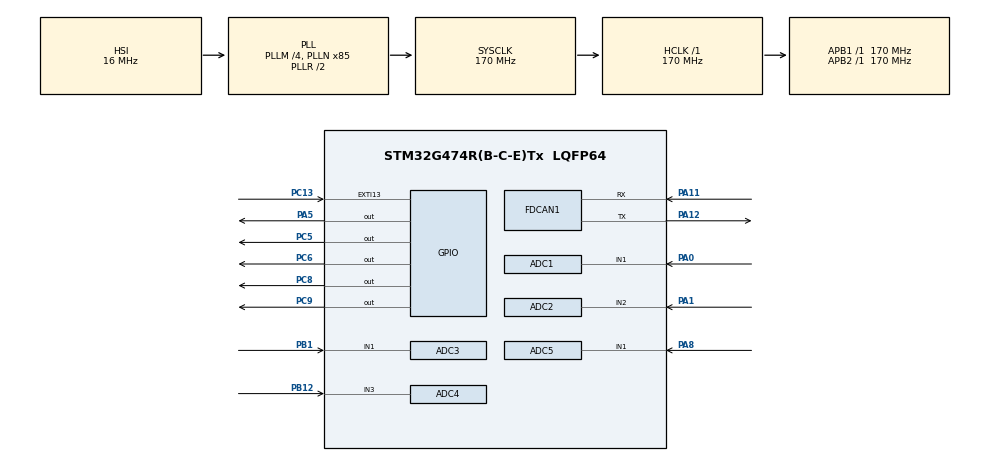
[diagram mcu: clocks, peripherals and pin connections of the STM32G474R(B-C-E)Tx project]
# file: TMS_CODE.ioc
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ADC1.Channel-1\#ChannelRegularConversion=ADC_CHANNEL_1
ADC1.NbrOfConversionFlag=1
ADC1.OffsetNumber-1\#ChannelRegularConversion=ADC_OFFSET_NONE
ADC1.Rank-1\#ChannelRegularConversion=1
ADC1.SamplingTime-1\#ChannelRegularConversion=ADC_SAMPLETIME_2CYCLES_5
ADC1.master=1
ADC2.Channel-0\#ChannelRegularConversion=ADC_CHANNEL_2
ADC2.NbrOfConversionFlag=1
ADC2.OffsetNumber-0\#ChannelRegularConversion=ADC_OFFSET_NONE
ADC2.Rank-0\#ChannelRegularConversion=1
ADC2.SamplingTime-0\#ChannelRegularConversion=ADC_SAMPLETIME_2CYCLES_5
ADC3.Channel-5\#ChannelRegularConversion=ADC_CHANNEL_1
ADC3.NbrOfConversionFlag=1
ADC3.OffsetNumber-5\#ChannelRegularConversion=ADC_OFFSET_NONE
ADC3.Rank-5\#ChannelRegularConversion=1
ADC3.SamplingTime-5\#ChannelRegularConversion=ADC_SAMPLETIME_2CYCLES_5
ADC3.master=1
ADC4.Channel-0\#ChannelRegularConversion=ADC_CHANNEL_3
ADC4.NbrOfConversionFlag=1
ADC4.OffsetNumber-0\#ChannelRegularConversion=ADC_OFFSET_NONE
ADC4.Rank-0\#ChannelRegularConversion=1
ADC4.SamplingTime-0\#ChannelRegularConversion=ADC_SAMPLETIME_2CYCLES_5
ADC5.Channel-2\#ChannelRegularConversion=ADC_CHANNEL_1
ADC5.NbrOfConversionFlag=1
ADC5.OffsetNumber-2\#ChannelRegularConversion=ADC_OFFSET_NONE
ADC5.Rank-2\#ChannelRegularConversion=1
ADC5.SamplingTime-2\#ChannelRegularConversion=ADC_SAMPLETIME_2CYCLES_5
FDCAN1.CalculateBaudRateNominal=500000
FDCAN1.CalculateTimeBitNominal=2000
FDCAN1.CalculateTimeQuantumNominal=200.0
FDCAN1.NominalPrescaler=34
FDCAN1.NominalTimeSeg1=4
FDCAN1.NominalTimeSeg2=5
Mcu.Family=STM32G4
Mcu.Name=STM32G474R(B-C-E)Tx
Mcu.Package=LQFP64
NUCLEO-G474RE.BUTTON=1
NUCLEO-G474RE.LD2=true
NUCLEO-G474RE.VCP=true
NVIC.EXTI15_10_IRQn=true\:0\:0\:false\:false\:true\:true\:true\:true
NVIC.PriorityGroup=NVIC_PRIORITYGROUP_4
PA0.Mode=IN1-Single-Ended
PA0.Signal=ADC1_IN1
PA1.Mode=IN2-Single-Ended
PA1.Signal=ADC2_IN2
PA11.Mode=FDCAN_Activate
PA11.Signal=FDCAN1_RX
PA12.Mode=FDCAN_Activate
PA12.Signal=FDCAN1_TX
PA13.GPIO_Label=T_SWDIO
PA13.Signal=SYS_JTMS-SWDIO
PA14.GPIO_Label=T_SWCLK
PA14.Signal=SYS_JTCK-SWCLK
PA2.Signal=LPUART1_TX
PA3.Signal=LPUART1_RX
PA5.Signal=GPIO_Output
PA8.Mode=IN1-Single-Ended
PA8.Signal=ADC5_IN1
PB1.Mode=IN1-Single-Ended
PB1.Signal=ADC3_IN1
PB12.Mode=IN3-Single-Ended
PB12.Signal=ADC4_IN3
PB3.GPIO_Label=T_SWO
PB3.Signal=SYS_JTDO-SWO
PC13.Signal=GPXTI13
PC14-OSC32_IN.GPIO_Label=RCC_OSC32_IN
PC14-OSC32_IN.Signal=RCC_OSC32_IN
PC15-OSC32_OUT.GPIO_Label=RCC_OSC32_OUT
PC15-OSC32_OUT.Signal=RCC_OSC32_OUT
PC5.Signal=GPIO_Output
PC6.Signal=GPIO_Output
PC8.Signal=GPIO_Output
PC9.Signal=GPIO_Output
PF0-OSC_IN.GPIO_Label=RCC_OSC_IN
PF0-OSC_IN.Signal=RCC_OSC_IN
PF1-OSC_OUT.GPIO_Label=RCC_OSC_OUT
PF1-OSC_OUT.Signal=RCC_OSC_OUT
ProjectManager.HeapSize=0x200
ProjectManager.StackSize=0x400
ProjectManager.TargetToolchain=STM32CubeIDE
RCC.ADC12Freq_Value=170000000
RCC.ADC345Freq_Value=170000000
RCC.AHBFreq_Value=170000000
RCC.APB1Freq_Value=170000000
RCC.APB1TimFreq_Value=170000000
RCC.APB2Freq_Value=170000000
RCC.APB2TimFreq_Value=170000000
RCC.CortexFreq_Value=170000000
RCC.EXTERNAL_CLOCK_VALUE=12288000
RCC.HCLKFreq_Value=170000000
RCC.HSE_VALUE=24000000
RCC.HSI48_VALUE=48000000
RCC.HSI_VALUE=16000000
RCC.LSE_VALUE=32768
RCC.PLLM=RCC_PLLM_DIV4
RCC.PLLN=85
RCC.RTCClockSelection=RCC_RTCCLKSOURCE_LSE
RCC.SYSCLKFreq_VALUE=170000000
RCC.SYSCLKSource=RCC_SYSCLKSOURCE_PLLCLK
RCC.USBFreq_Value=170000000
RCC.VCOOutputFreq_Value=340000000
VP_NUCLEO-G474RE_VS_BSP_COMMON.Mode=COMMON
VP_SYS_VS_DBSignals.Mode=DisableDeadBatterySignals
board=NUCLEO-G474RE

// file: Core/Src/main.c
/* USER CODE BEGIN Header */
/* USER CODE END Header */
#include "main.h"

/* USER CODE BEGIN Includes */
#include <stdio.h>
#include <math.h>
#include <string.h>
/* USER CODE END Includes */

/* USER CODE BEGIN PD */
#define TMS_NUM_SENSORS 5
/* USER CODE END PD */

/* USER CODE BEGIN PM */
#ifndef MIN
#define MIN(a,b) ((a)<(b)?(a):(b))
#endif
#ifndef MAX
#define MAX(a,b) ((a)>(b)?(a):(b))
#endif
/* USER CODE END PM */

COM_InitTypeDef BspCOMInit;
ADC_HandleTypeDef hadc1;
ADC_HandleTypeDef hadc2;
ADC_HandleTypeDef hadc3;
ADC_HandleTypeDef hadc4;
ADC_HandleTypeDef hadc5;

FDCAN_HandleTypeDef hfdcan1;

/* USER CODE BEGIN PV */
uint16_t adc_raw[5];
float    adc_voltage[5];
float    adc_temp[5];

uint32_t last_print_time = 0;
/* USER CODE END PV */

void SystemClock_Config(void);
static void MX_GPIO_Init(void);
static void MX_FDCAN1_Init(void);
static void MX_ADC2_Init(void);
static void MX_ADC1_Init(void);
static void MX_ADC3_Init(void);
static void MX_ADC4_Init(void);
static void MX_ADC5_Init(void);
/* USER CODE BEGIN PFP */

static uint16_t adc_read_once(ADC_HandleTypeDef *hadc);
static uint16_t median5_u16(uint16_t a[5]);
static inline float clampf(float x, float lo, float hi);
static float voltage_to_temperature(float vout);
static int8_t temp_to_i8(float t);

void send_address_claim(void);
void send_thermistor_summary(int8_t minT, int8_t maxT, int8_t avgT,
                             uint8_t count, uint8_t id_max, uint8_t id_min);
void send_all_temps_to_esp(int8_t temps[5]);

/* USER CODE END PFP */

/* USER CODE BEGIN 0 */

/* Leitura robusta de ADC (mediana de 5 conversões) */
static uint16_t adc_read_once(ADC_HandleTypeDef *hadc)
{
    uint16_t buf[5];

    for (int i = 0; i < 5; i++)
    {
        HAL_ADC_Start(hadc);
        HAL_ADC_PollForConversion(hadc, 10);
        buf[i] = HAL_ADC_GetValue(hadc);
    }

    return median5_u16(buf);
}

/* Ordenação por inserção – retorna mediana */
static uint16_t median5_u16(uint16_t a[5])
{
    for (int i = 1; i < 5; i++)
    {
        uint16_t x = a[i];
        int j = i - 1;

        while (j >= 0 && a[j] > x)
        {
            a[j + 1] = a[j];
            j--;
        }

        a[j + 1] = x;
    }

    return a[2];
}

/* Clamp de float */
static inline float clampf(float x, float lo, float hi)
{
    return (x < lo) ? lo : (x > hi) ? hi : x;
}

/* Converte para int8 */
static int8_t temp_to_i8(float t)
{
    if (t < -40.0f) t = -40.0f;
    if (t > 120.0f) t = 120.0f;
    return (int8_t)lrintf(t);
}

/* Sensor Enepaq → interpolação */
static float voltage_to_temperature(float vout)
{
    static const float V[] = {
        2.44,2.42,2.40,2.38,2.35,2.32,2.27,2.23,2.17,2.11,2.05,1.99,1.92,1.86,1.80,
        1.74,1.68,1.63,1.59,1.55,1.51,1.48,1.45,1.43,1.40,1.38,1.37,1.35,1.34,1.33,
        1.32,1.31,1.30
    };
    static const float T[] = {
        -40,-35,-30,-25,-20,-15,-10,-5,0,5,10,15,20,25,30,35,40,45,50,
        55,60,65,70,75,80,85,90,95,100,105,110,115,120
    };

    const int N = sizeof(V)/sizeof(V[0]);

    if (vout >= V[0]) return T[0];
    if (vout <= V[N-1]) return T[N-1];

    for (int i = 0; i < N - 1; i++)
    {
        if (vout <= V[i] && vout >= V[i + 1])
        {
            float f = (vout - V[i]) / (V[i + 1] - V[i]);
            return T[i] + f * (T[i + 1] - T[i]);
        }
    }

    return 25.0f;
}

/* CAN PGN 0xEEFF80 – Address Claim */
void send_address_claim(void)
{
    FDCAN_TxHeaderTypeDef txHeader;
    uint8_t data[8] = {0xF3, 0x00, 0x80, 0x00, 0x40, 0x1E, 0x90, 0x00};

    txHeader.Identifier         = 0x18EEFF80;
    txHeader.IdType             = FDCAN_EXTENDED_ID;
    txHeader.TxFrameType        = FDCAN_DATA_FRAME;
    txHeader.DataLength         = FDCAN_DLC_BYTES_8;
    txHeader.ErrorStateIndicator= FDCAN_ESI_ACTIVE;
    txHeader.BitRateSwitch      = FDCAN_BRS_OFF;
    txHeader.FDFormat           = FDCAN_CLASSIC_CAN;
    txHeader.TxEventFifoControl = FDCAN_NO_TX_EVENTS;
    txHeader.MessageMarker      = 0;

    HAL_FDCAN_AddMessageToTxFifoQ(&hfdcan1, &txHeader, data);
}

/* CAN para Orion (min, max, avg, count=5) */
void send_thermistor_summary(int8_t minT, int8_t maxT, int8_t avgT,
                             uint8_t count, uint8_t id_max, uint8_t id_min)
{
    FDCAN_TxHeaderTypeDef txHeader;
    uint8_t data[8];

    data[0] = 0;
    data[1] = minT;
    data[2] = maxT;
    data[3] = avgT;
    data[4] = count;
    data[5] = id_max;
    data[6] = id_min;

    uint16_t checksum = 0x39 + 8;
    for (int i = 0; i < 7; i++) checksum += data[i];
    data[7] = checksum & 0xFF;

    txHeader.Identifier         = 0x1839F380;
    txHeader.IdType             = FDCAN_EXTENDED_ID;
    txHeader.TxFrameType        = FDCAN_DATA_FRAME;
    txHeader.DataLength         = FDCAN_DLC_BYTES_8;
    txHeader.ErrorStateIndicator= FDCAN_ESI_ACTIVE;
    txHeader.BitRateSwitch      = FDCAN_BRS_OFF;
    txHeader.FDFormat           = FDCAN_CLASSIC_CAN;
    txHeader.TxEventFifoControl = FDCAN_NO_TX_EVENTS;
    txHeader.MessageMarker      = 0;

    HAL_FDCAN_AddMessageToTxFifoQ(&hfdcan1, &txHeader, data);
}

/* CAN para ESP – 5 temps em 1 frame (ID 0x350) */
void send_all_temps_to_esp(int8_t temps[5])
{
    FDCAN_TxHeaderTypeDef txHeader;
    uint8_t data[8] = {0};

    for (int i = 0; i < 5; i++)
        data[i] = temps[i];

    txHeader.Identifier         = 0x350;
    txHeader.IdType             = FDCAN_STANDARD_ID;
    txHeader.TxFrameType        = FDCAN_DATA_FRAME;
    txHeader.DataLength         = FDCAN_DLC_BYTES_8;
    txHeader.ErrorStateIndicator= FDCAN_ESI_ACTIVE;
    txHeader.BitRateSwitch      = FDCAN_BRS_OFF;
    txHeader.FDFormat           = FDCAN_CLASSIC_CAN;
    txHeader.TxEventFifoControl = FDCAN_NO_TX_EVENTS;
    txHeader.MessageMarker      = 0;

    HAL_FDCAN_AddMessageToTxFifoQ(&hfdcan1, &txHeader, data);
}
/* USER CODE END 0 */

int main(void)
{

  /* MCU Configuration--------------------------------------------------------*/

  /* Reset of all peripherals, Initializes the Flash interface and the Systick. */
  HAL_Init();

  /* Configure the system clock */
  SystemClock_Config();

  /* Initialize all configured peripherals */
  MX_GPIO_Init();
  MX_FDCAN1_Init();
  MX_ADC2_Init();
  MX_ADC1_Init();
  MX_ADC3_Init();
  MX_ADC4_Init();
  MX_ADC5_Init();
  /* USER CODE BEGIN 2 */
  for (int i = 0; i < 5; i++)
      {
          adc_raw[i]     = 0;
          adc_voltage[i] = 0.0f;
          adc_temp[i]    = 25.0f;
      }
  /* USER CODE END 2 */

  /* Initialize led */
  BSP_LED_Init(LED_GREEN);

  /* Initialize USER push-button, will be used to trigger an interrupt each time it's pressed.*/
  BSP_PB_Init(BUTTON_USER, BUTTON_MODE_EXTI);

  /* Initialize COM1 port (115200, 8 bits (7-bit data + 1 stop bit), no parity */
  BspCOMInit.BaudRate   = 115200;
  BspCOMInit.WordLength = COM_WORDLENGTH_8B;
  BspCOMInit.StopBits   = COM_STOPBITS_1;
  BspCOMInit.Parity     = COM_PARITY_NONE;
  BspCOMInit.HwFlowCtl  = COM_HWCONTROL_NONE;
  if (BSP_COM_Init(COM1, &BspCOMInit) != BSP_ERROR_NONE)
  {
    Error_Handler();
  }

  /* Infinite loop */
  /* USER CODE BEGIN WHILE */
  while (1)
      {
          float soma = 0.0f;
          int8_t minT = 127, maxT = -128;
          uint8_t id_min = 0, id_max = 0;

          int8_t temps_i8[5];

          /* ===== Leitura dos 5 sensores (1 por ADC) ===== */
          for (uint8_t i = 0; i < 1; i++)
          {
              ADC_HandleTypeDef *hadc = NULL;

              switch (i)
              {
                  case 0: hadc = &hadc1; break;
                  case 1: hadc = &hadc2; break;
                  case 2: hadc = &hadc3; break;
                  case 3: hadc = &hadc4; break;
                  case 4: hadc = &hadc5; break;
              }

              uint16_t raw  = adc_read_once(hadc);
              float volt    = (raw / 4095.0f) * 3.3f;
              float temp    = voltage_to_temperature(volt);

              adc_raw[i]     = raw;
              adc_voltage[i] = volt;
              adc_temp[i]    = temp;

              temps_i8[i] = temp_to_i8(temp);

              if (temps_i8[i] < minT) { minT = temps_i8[i]; id_min = i; }
              if (temps_i8[i] > maxT) { maxT = temps_i8[i]; id_max = i; }

              soma += temps_i8[i];

              printf("Segmento %u | RAW=%u | V=%.3f | T=%.2f\n", i, raw, volt, temp);
              HAL_Delay(5);
          }

          int8_t avgT = (int8_t)lrintf(soma / 5.0f);

          /* Envia endereço J1939 */
          send_address_claim();
          HAL_Delay(10);

          /* CAN Orion */
          send_thermistor_summary(minT, maxT, avgT, 5, id_max, id_min);

          /* CAN ESP */
          send_all_temps_to_esp(temps_i8);

          HAL_Delay(50);
      }
    /* USER CODE END WHILE */

}

void SystemClock_Config(void)
{
  RCC_OscInitTypeDef RCC_OscInitStruct = {0};
  RCC_ClkInitTypeDef RCC_ClkInitStruct = {0};

  /** Configure the main internal regulator output voltage
  */
  HAL_PWREx_ControlVoltageScaling(PWR_REGULATOR_VOLTAGE_SCALE1_BOOST);

  /** Initializes the RCC Oscillators according to the specified parameters
  * in the RCC_OscInitTypeDef structure.
  */
  RCC_OscInitStruct.OscillatorType = RCC_OSCILLATORTYPE_HSI;
  RCC_OscInitStruct.HSIState = RCC_HSI_ON;
  RCC_OscInitStruct.HSICalibrationValue = RCC_HSICALIBRATION_DEFAULT;
  RCC_OscInitStruct.PLL.PLLState = RCC_PLL_ON;
  RCC_OscInitStruct.PLL.PLLSource = RCC_PLLSOURCE_HSI;
  RCC_OscInitStruct.PLL.PLLM = RCC_PLLM_DIV4;
  RCC_OscInitStruct.PLL.PLLN = 85;
  RCC_OscInitStruct.PLL.PLLP = RCC_PLLP_DIV2;
  RCC_OscInitStruct.PLL.PLLQ = RCC_PLLQ_DIV2;
  RCC_OscInitStruct.PLL.PLLR = RCC_PLLR_DIV2;
  if (HAL_RCC_OscConfig(&RCC_OscInitStruct) != HAL_OK)
  {
    Error_Handler();
  }

  /** Initializes the CPU, AHB and APB buses clocks
  */
  RCC_ClkInitStruct.ClockType = RCC_CLOCKTYPE_HCLK|RCC_CLOCKTYPE_SYSCLK
                              |RCC_CLOCKTYPE_PCLK1|RCC_CLOCKTYPE_PCLK2;
  RCC_ClkInitStruct.SYSCLKSource = RCC_SYSCLKSOURCE_PLLCLK;
  RCC_ClkInitStruct.AHBCLKDivider = RCC_SYSCLK_DIV1;
  RCC_ClkInitStruct.APB1CLKDivider = RCC_HCLK_DIV1;
  RCC_ClkInitStruct.APB2CLKDivider = RCC_HCLK_DIV1;

  if (HAL_RCC_ClockConfig(&RCC_ClkInitStruct, FLASH_LATENCY_4) != HAL_OK)
  {
    Error_Handler();
  }
}

static void MX_ADC1_Init(void)
{

  ADC_MultiModeTypeDef multimode = {0};
  ADC_ChannelConfTypeDef sConfig = {0};

  /** Common config
  */
  hadc1.Instance = ADC1;
  hadc1.Init.ClockPrescaler = ADC_CLOCK_SYNC_PCLK_DIV4;
  hadc1.Init.Resolution = ADC_RESOLUTION_12B;
  hadc1.Init.DataAlign = ADC_DATAALIGN_RIGHT;
  hadc1.Init.GainCompensation = 0;
  hadc1.Init.ScanConvMode = ADC_SCAN_DISABLE;
  hadc1.Init.EOCSelection = ADC_EOC_SINGLE_CONV;
  hadc1.Init.LowPowerAutoWait = DISABLE;
  hadc1.Init.ContinuousConvMode = DISABLE;
  hadc1.Init.NbrOfConversion = 1;
  hadc1.Init.DiscontinuousConvMode = DISABLE;
  hadc1.Init.ExternalTrigConv = ADC_SOFTWARE_START;
  hadc1.Init.ExternalTrigConvEdge = ADC_EXTERNALTRIGCONVEDGE_NONE;
  hadc1.Init.DMAContinuousRequests = DISABLE;
  hadc1.Init.Overrun = ADC_OVR_DATA_PRESERVED;
  hadc1.Init.OversamplingMode = DISABLE;
  if (HAL_ADC_Init(&hadc1) != HAL_OK)
  {
    Error_Handler();
  }

  /** Configure the ADC multi-mode
  */
  multimode.Mode = ADC_MODE_INDEPENDENT;
  if (HAL_ADCEx_MultiModeConfigChannel(&hadc1, &multimode) != HAL_OK)
  {
    Error_Handler();
  }

  /** Configure Regular Channel
  */
  sConfig.Channel = ADC_CHANNEL_1;
  sConfig.Rank = ADC_REGULAR_RANK_1;
  sConfig.SamplingTime = ADC_SAMPLETIME_2CYCLES_5;
  sConfig.SingleDiff = ADC_SINGLE_ENDED;
  sConfig.OffsetNumber = ADC_OFFSET_NONE;
  sConfig.Offset = 0;
  if (HAL_ADC_ConfigChannel(&hadc1, &sConfig) != HAL_OK)
  {
    Error_Handler();
  }

}

static void MX_ADC2_Init(void)
{

  ADC_ChannelConfTypeDef sConfig = {0};

  /** Common config
  */
  hadc2.Instance = ADC2;
  hadc2.Init.ClockPrescaler = ADC_CLOCK_SYNC_PCLK_DIV4;
  hadc2.Init.Resolution = ADC_RESOLUTION_12B;
  hadc2.Init.DataAlign = ADC_DATAALIGN_RIGHT;
  hadc2.Init.GainCompensation = 0;
  hadc2.Init.ScanConvMode = ADC_SCAN_DISABLE;
  hadc2.Init.EOCSelection = ADC_EOC_SINGLE_CONV;
  hadc2.Init.LowPowerAutoWait = DISABLE;
  hadc2.Init.ContinuousConvMode = DISABLE;
  hadc2.Init.NbrOfConversion = 1;
  hadc2.Init.DiscontinuousConvMode = DISABLE;
  hadc2.Init.ExternalTrigConv = ADC_SOFTWARE_START;
  hadc2.Init.ExternalTrigConvEdge = ADC_EXTERNALTRIGCONVEDGE_NONE;
  hadc2.Init.DMAContinuousRequests = DISABLE;
  hadc2.Init.Overrun = ADC_OVR_DATA_PRESERVED;
  hadc2.Init.OversamplingMode = DISABLE;
  if (HAL_ADC_Init(&hadc2) != HAL_OK)
  {
    Error_Handler();
  }

  /** Configure Regular Channel
  */
  sConfig.Channel = ADC_CHANNEL_2;
  sConfig.Rank = ADC_REGULAR_RANK_1;
  sConfig.SamplingTime = ADC_SAMPLETIME_2CYCLES_5;
  sConfig.SingleDiff = ADC_SINGLE_ENDED;
  sConfig.OffsetNumber = ADC_OFFSET_NONE;
  sConfig.Offset = 0;
  if (HAL_ADC_ConfigChannel(&hadc2, &sConfig) != HAL_OK)
  {
    Error_Handler();
  }

}

static void MX_ADC3_Init(void)
{

  ADC_MultiModeTypeDef multimode = {0};
  ADC_ChannelConfTypeDef sConfig = {0};

  /** Common config
  */
  hadc3.Instance = ADC3;
  hadc3.Init.ClockPrescaler = ADC_CLOCK_SYNC_PCLK_DIV4;
  hadc3.Init.Resolution = ADC_RESOLUTION_12B;
  hadc3.Init.DataAlign = ADC_DATAALIGN_RIGHT;
  hadc3.Init.GainCompensation = 0;
  hadc3.Init.ScanConvMode = ADC_SCAN_DISABLE;
  hadc3.Init.EOCSelection = ADC_EOC_SINGLE_CONV;
  hadc3.Init.LowPowerAutoWait = DISABLE;
  hadc3.Init.ContinuousConvMode = DISABLE;
  hadc3.Init.NbrOfConversion = 1;
  hadc3.Init.DiscontinuousConvMode = DISABLE;
  hadc3.Init.ExternalTrigConv = ADC_SOFTWARE_START;
  hadc3.Init.ExternalTrigConvEdge = ADC_EXTERNALTRIGCONVEDGE_NONE;
  hadc3.Init.DMAContinuousRequests = DISABLE;
  hadc3.Init.Overrun = ADC_OVR_DATA_PRESERVED;
  hadc3.Init.OversamplingMode = DISABLE;
  if (HAL_ADC_Init(&hadc3) != HAL_OK)
  {
    Error_Handler();
  }

  /** Configure the ADC multi-mode
  */
  multimode.Mode = ADC_MODE_INDEPENDENT;
  if (HAL_ADCEx_MultiModeConfigChannel(&hadc3, &multimode) != HAL_OK)
  {
    Error_Handler();
  }

  /** Configure Regular Channel
  */
  sConfig.Channel = ADC_CHANNEL_1;
  sConfig.Rank = ADC_REGULAR_RANK_1;
  sConfig.SamplingTime = ADC_SAMPLETIME_2CYCLES_5;
  sConfig.SingleDiff = ADC_SINGLE_ENDED;
  sConfig.OffsetNumber = ADC_OFFSET_NONE;
  sConfig.Offset = 0;
  if (HAL_ADC_ConfigChannel(&hadc3, &sConfig) != HAL_OK)
  {
    Error_Handler();
  }

}

static void MX_ADC4_Init(void)
{

  ADC_ChannelConfTypeDef sConfig = {0};

  /** Common config
  */
  hadc4.Instance = ADC4;
  hadc4.Init.ClockPrescaler = ADC_CLOCK_SYNC_PCLK_DIV4;
  hadc4.Init.Resolution = ADC_RESOLUTION_12B;
  hadc4.Init.DataAlign = ADC_DATAALIGN_RIGHT;
  hadc4.Init.GainCompensation = 0;
  hadc4.Init.ScanConvMode = ADC_SCAN_DISABLE;
  hadc4.Init.EOCSelection = ADC_EOC_SINGLE_CONV;
  hadc4.Init.LowPowerAutoWait = DISABLE;
  hadc4.Init.ContinuousConvMode = DISABLE;
  hadc4.Init.NbrOfConversion = 1;
  hadc4.Init.DiscontinuousConvMode = DISABLE;
  hadc4.Init.ExternalTrigConv = ADC_SOFTWARE_START;
  hadc4.Init.ExternalTrigConvEdge = ADC_EXTERNALTRIGCONVEDGE_NONE;
  hadc4.Init.DMAContinuousRequests = DISABLE;
  hadc4.Init.Overrun = ADC_OVR_DATA_PRESERVED;
  hadc4.Init.OversamplingMode = DISABLE;
  if (HAL_ADC_Init(&hadc4) != HAL_OK)
  {
    Error_Handler();
  }

  /** Configure Regular Channel
  */
  sConfig.Channel = ADC_CHANNEL_3;
  sConfig.Rank = ADC_REGULAR_RANK_1;
  sConfig.SamplingTime = ADC_SAMPLETIME_2CYCLES_5;
  sConfig.SingleDiff = ADC_SINGLE_ENDED;
  sConfig.OffsetNumber = ADC_OFFSET_NONE;
  sConfig.Offset = 0;
  if (HAL_ADC_ConfigChannel(&hadc4, &sConfig) != HAL_OK)
  {
    Error_Handler();
  }

}

static void MX_ADC5_Init(void)
{

  ADC_ChannelConfTypeDef sConfig = {0};

  /** Common config
  */
  hadc5.Instance = ADC5;
  hadc5.Init.ClockPrescaler = ADC_CLOCK_SYNC_PCLK_DIV4;
  hadc5.Init.Resolution = ADC_RESOLUTION_12B;
  hadc5.Init.DataAlign = ADC_DATAALIGN_RIGHT;
  hadc5.Init.GainCompensation = 0;
  hadc5.Init.ScanConvMode = ADC_SCAN_DISABLE;
  hadc5.Init.EOCSelection = ADC_EOC_SINGLE_CONV;
  hadc5.Init.LowPowerAutoWait = DISABLE;
  hadc5.Init.ContinuousConvMode = DISABLE;
  hadc5.Init.NbrOfConversion = 1;
  hadc5.Init.DiscontinuousConvMode = DISABLE;
  hadc5.Init.ExternalTrigConv = ADC_SOFTWARE_START;
  hadc5.Init.ExternalTrigConvEdge = ADC_EXTERNALTRIGCONVEDGE_NONE;
  hadc5.Init.DMAContinuousRequests = DISABLE;
  hadc5.Init.Overrun = ADC_OVR_DATA_PRESERVED;
  hadc5.Init.OversamplingMode = DISABLE;
  if (HAL_ADC_Init(&hadc5) != HAL_OK)
  {
    Error_Handler();
  }

  /** Configure Regular Channel
  */
  sConfig.Channel = ADC_CHANNEL_1;
  sConfig.Rank = ADC_REGULAR_RANK_1;
  sConfig.SamplingTime = ADC_SAMPLETIME_2CYCLES_5;
  sConfig.SingleDiff = ADC_SINGLE_ENDED;
  sConfig.OffsetNumber = ADC_OFFSET_NONE;
  sConfig.Offset = 0;
  if (HAL_ADC_ConfigChannel(&hadc5, &sConfig) != HAL_OK)
  {
    Error_Handler();
  }

}

static void MX_FDCAN1_Init(void)
{

  hfdcan1.Instance = FDCAN1;
  hfdcan1.Init.ClockDivider = FDCAN_CLOCK_DIV1;
  hfdcan1.Init.FrameFormat = FDCAN_FRAME_CLASSIC;
  hfdcan1.Init.Mode = FDCAN_MODE_NORMAL;
  hfdcan1.Init.AutoRetransmission = DISABLE;
  hfdcan1.Init.TransmitPause = DISABLE;
  hfdcan1.Init.ProtocolException = DISABLE;
  hfdcan1.Init.NominalPrescaler = 34;
  hfdcan1.Init.NominalSyncJumpWidth = 1;
  hfdcan1.Init.NominalTimeSeg1 = 4;
  hfdcan1.Init.NominalTimeSeg2 = 5;
  hfdcan1.Init.DataPrescaler = 1;
  hfdcan1.Init.DataSyncJumpWidth = 1;
  hfdcan1.Init.DataTimeSeg1 = 1;
  hfdcan1.Init.DataTimeSeg2 = 1;
  hfdcan1.Init.StdFiltersNbr = 0;
  hfdcan1.Init.ExtFiltersNbr = 0;
  hfdcan1.Init.TxFifoQueueMode = FDCAN_TX_FIFO_OPERATION;
  if (HAL_FDCAN_Init(&hfdcan1) != HAL_OK)
  {
    Error_Handler();
  }

}

static void MX_GPIO_Init(void)
{
  GPIO_InitTypeDef GPIO_InitStruct = {0};

  /* GPIO Ports Clock Enable */
  __HAL_RCC_GPIOC_CLK_ENABLE();
  __HAL_RCC_GPIOF_CLK_ENABLE();
  __HAL_RCC_GPIOA_CLK_ENABLE();
  __HAL_RCC_GPIOB_CLK_ENABLE();

  /*Configure GPIO pin Output Level */
  HAL_GPIO_WritePin(GPIOC, GPIO_PIN_5|GPIO_PIN_6|GPIO_PIN_8|GPIO_PIN_9, GPIO_PIN_RESET);

  /*Configure GPIO pins : PC5 PC6 PC8 PC9 */
  GPIO_InitStruct.Pin = GPIO_PIN_5|GPIO_PIN_6|GPIO_PIN_8|GPIO_PIN_9;
  GPIO_InitStruct.Mode = GPIO_MODE_OUTPUT_PP;
  GPIO_InitStruct.Pull = GPIO_NOPULL;
  GPIO_InitStruct.Speed = GPIO_SPEED_FREQ_LOW;
  HAL_GPIO_Init(GPIOC, &GPIO_InitStruct);

}

void Error_Handler(void)
{
}
